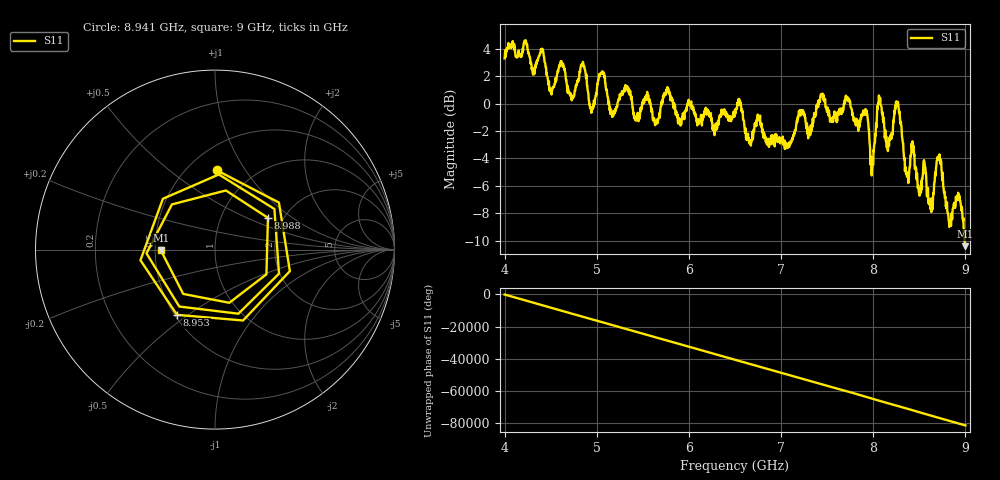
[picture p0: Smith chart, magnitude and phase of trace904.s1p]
! Created with skrf 1.8.0 (http://scikit-rf.org).
# Hz S RI R 50.0
!freq ReS11 ImS11
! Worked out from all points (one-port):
!   1601 points, 4 GHz to 9 GHz, reference 50 ohm
!   lowest |S11| = -10.4 dB at 9 GHz (marker M1), VSWR 1.86, Z = 26.8 - j0.238 ohm
!   |S11| at or under -10 dB: 8.991445 GHz to end of sweep
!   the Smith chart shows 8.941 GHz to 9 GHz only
!   S11 on the Smith chart (normalised r, x): 8.941 GHz: 0.68, +0.75; 8.953 GHz: 0.51, -0.45; 8.988 GHz: 1.67, +0.67; 9 GHz: 0.54, -0.00
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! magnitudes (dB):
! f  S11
! 4 GHz  3.3
! 4.403 GHz  3.9
! 4.509 GHz  0.7
! 4.625 GHz  2.8
! 4.731 GHz  0.5
! 4.853 GHz  3.0
! 4.941 GHz  -0.7
! 5.05 GHz  2.2
! 5.162 GHz  -0.6
! 5.25 GHz  0.7
! 5.875 GHz  -1.0
! 6.5 GHz  -0.4
! 7.125 GHz  -2.6
! 7.75 GHz  0.1
! 7.922 GHz  -0.6
! 7.988 GHz  -4.7
! 8.066 GHz  0.1
! 8.159 GHz  -3.5
! 8.262 GHz  -0.1
! 8.375 GHz  -5.1
! 8.428 GHz  -2.8
! 8.622 GHz  -7.7
! 8.712 GHz  -3.9
! 8.822 GHz  -8.6
! 8.941 GHz  -7.1
! 8.953 GHz  -7.5
! 8.988 GHz  -9.3
! 9 GHz  -10.4
